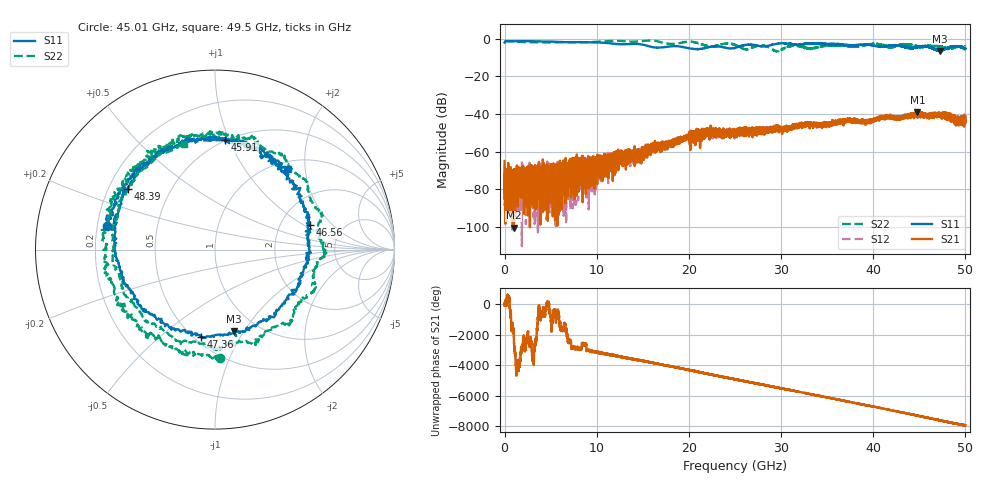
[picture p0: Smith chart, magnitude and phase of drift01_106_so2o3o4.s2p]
!Created with skrf (http://scikit-rf.org).
# Hz S RI R 50.0
!freq ReS11 ImS11 ReS21 ImS21 ReS12 ImS12 ReS22 ImS22
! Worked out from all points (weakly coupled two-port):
!   10001 points, 300 kHz to 50 GHz, reference 50 ohm
!   highest |S21| = -38.99 dB at 44.8 GHz (marker M1); lowest = -100.4 dB at 995.3 MHz (marker M2)
!   lowest |S11| = -6.7 dB at 47.21 GHz (marker M3), VSWR 2.74, Z = 38.8 - j44.9 ohm
!   |S11| at or under -10 dB: nowhere
!   |S22| runs from -6.8 to -1.0 dB; largest |S21 - S12| = 0.0036
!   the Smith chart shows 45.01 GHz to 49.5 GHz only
!   S11 on the Smith chart (normalised r, x): 45.01 GHz: 0.24, +0.10; 45.91 GHz: 0.49, +0.97; 46.56 GHz: 2.91, +1.12; 47.36 GHz: 0.54, -0.69; 48.39 GHz: 0.28, +0.29; 49.5 GHz: 1.14, +1.62
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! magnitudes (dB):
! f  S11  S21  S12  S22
! 300 kHz  -2.1  -65.0  -67.2  -1.3
! 260.3 MHz  -1.4  -69.3  -73.2  -1.4
! 995.3 MHz  -1.5  -100.4  -82.0  -1.5
! 5.37 GHz  -1.7  -77.6  -76.5  -2.1
! 8.335 GHz  -1.9  -63.3  -67.9  -2.1
! 16.67 GHz  -4.8  -57.7  -57.6  -1.6
! 21.42 GHz  -5.4  -52.0  -50.0  -3.1
! 25 GHz  -5.0  -49.3  -50.4  -3.4
! 28.09 GHz  -4.2  -49.4  -49.0  -3.8
! 29.53 GHz  -2.8  -47.6  -47.9  -6.8
! 31.29 GHz  -3.1  -46.2  -46.6  -4.0
! 33.34 GHz  -2.6  -46.1  -45.6  -5.3
! 41.67 GHz  -3.9  -41.4  -41.6  -4.5
! 44.8 GHz  -4.6  -39.0  -39.8  -4.2
! 45.01 GHz  -4.2  -40.2  -40.5  -4.4
! 45.91 GHz  -4.2  -40.7  -40.9  -3.8
! 46.56 GHz  -5.3  -40.4  -40.1  -4.0
! 47.21 GHz  -6.7  -40.7  -40.0  -4.5
! 47.36 GHz  -6.2  -40.6  -40.4  -4.5
! 48.39 GHz  -4.6  -42.7  -42.2  -5.4
! 49.5 GHz  -4.3  -42.0  -43.4  -4.3
! 50 GHz  -5.5  -41.3  -42.4  -4.2
